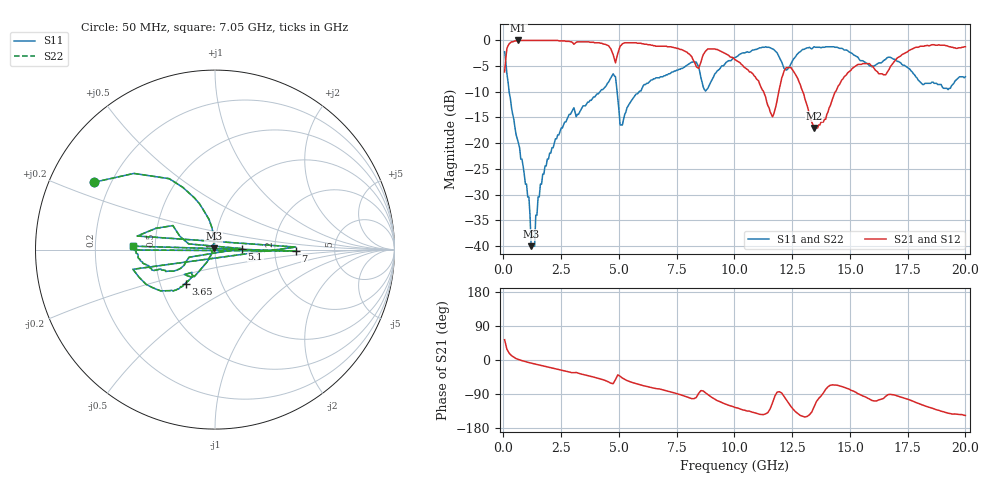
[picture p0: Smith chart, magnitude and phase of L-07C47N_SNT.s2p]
#	mhz	s	ma	r	50
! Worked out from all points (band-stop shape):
!   400 points, 50 MHz to 20 GHz, reference 50 ohm
!   highest |S21| = -0.09 dB at 650 MHz (marker M1); lowest = -17.1 dB at 13.45 GHz (marker M2)
!   |S21| within 3 dB of the highest: 113.1 MHz to 4.765 GHz (4.652 GHz wide, 191 % of centre); 4.923 GHz to 8.123 GHz (3.2 GHz wide, 49.1 % of centre)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
!   lowest |S11| = -40.0 dB at 1.2 GHz (marker M3), VSWR 1.02, Z = 49.3 + j0.737 ohm
!   |S11| at or under -10 dB: 245.7 MHz to 4.181 GHz (3.936 GHz wide, 178 % of centre); 4.92 GHz to 5.881 GHz (961.8 MHz wide, 17.8 % of centre)
!   |S22| runs from -40.0 to -1.3 dB; largest |S21 - S12| = 0
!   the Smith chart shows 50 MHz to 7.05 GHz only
!   S11 on the Smith chart (normalised r, x): 50 MHz: 0.14, +0.26; 3.65 GHz: 0.67, -0.27; 5.1 GHz: 1.35, +0.02; 7 GHz: 2.64, -0.05; 7.05 GHz: 0.37, +0.02
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50  0.77 150.8  0.49 53.5  0.49 53.5  0.77 150.8
650  0.1 97.4  0.99 1.3  0.99 1.3  0.1 97.4
1200  0.01 131.7  0.99 -8.3  0.99 -8.3  0.01 131.7
1900  0.07 -122.5  0.99 -18.1  0.99 -18.1  0.07 -122.5
3400  0.22 -130.3  0.96 -37.5  0.96 -37.5  0.22 -130.3
3650  0.25 -130.8  0.96 -41.1  0.96 -41.1  0.25 -130.8
4750  0.47 -166.5  0.72 -62.5  0.72 -62.5  0.47 -166.5
4800  0.45 1.8  0.66 -57.1  0.66 -57.1  0.45 1.8
4850  0.44 170.1  0.6 -51.8  0.6 -51.8  0.44 170.1
5100  0.15 2.1  0.89 -45.3  0.89 -45.3  0.15 2.1
6700  0.43 -176.0  0.87 -76.1  0.87 -76.1  0.43 -176.0
6950  0.45 -179.7  0.87 -79.3  0.87 -79.3  0.45 -179.7
7000  0.45 -1.0  0.87 -80.2  0.87 -80.2  0.45 -1.0
7050  0.46 177.6  0.87 -81.1  0.87 -81.1  0.46 177.6
10050  0.68 139.6  0.64 -125.7  0.64 -125.7  0.68 139.6
11650  0.82 85.9  0.18 -112.9  0.18 -112.9  0.82 85.9
12450  0.59 96.8  0.54 -122.9  0.54 -122.9  0.59 96.8
13350  0.82 73.3  0.16 -137.1  0.16 -137.1  0.82 73.3
13450  0.86 66.4  0.14 -123.5  0.14 -123.5  0.86 66.4
15350  0.68 0.6  0.58 -89.0  0.58 -89.0  0.68 0.6
16700  0.68 7.5  0.52 -91.1  0.52 -91.1  0.68 7.5
20000  0.44 -66.7  0.86 -146.3  0.86 -146.3  0.44 -66.7
